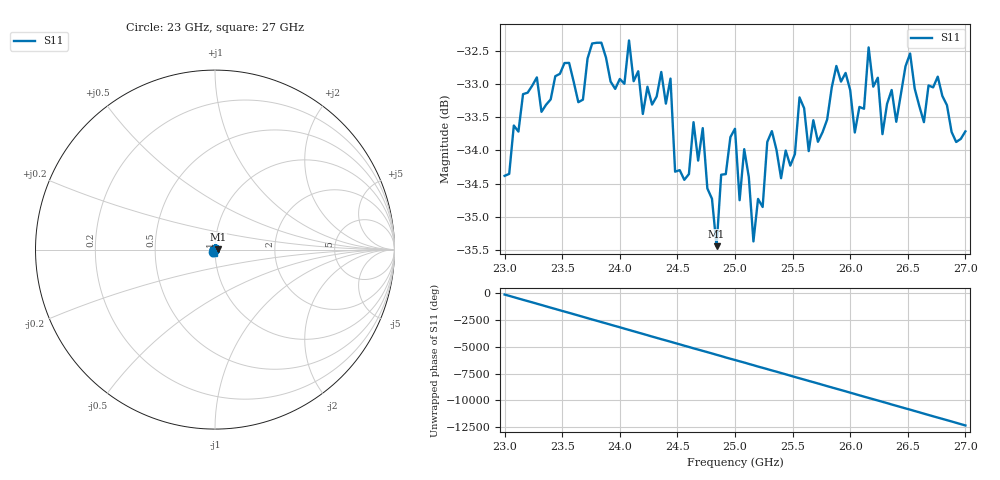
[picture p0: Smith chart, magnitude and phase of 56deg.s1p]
#  HZ  S  RI  R  50.00
! Rohde & Schwarz ZVA40 4Ports - Version 3.90 - 1145.1110k42 SN: 100403
! Date: 2023-09-26 10:45:54
! Measurement: S12
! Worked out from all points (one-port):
!   101 points, 23 GHz to 27 GHz, reference 50 ohm
!   lowest |S11| = -35.4 dB at 24.84 GHz (marker M1), VSWR 1.03, Z = 51.7 + j0.278 ohm
!   |S11| at or under -10 dB: start of sweep to end of sweep
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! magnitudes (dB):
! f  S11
! 23 GHz  -34.4
! 23.16 GHz  -33.2
! 23.52 GHz  -32.7
! 24 GHz  -32.9
! 24.08 GHz  -32.3
! 24.44 GHz  -32.9
! 24.48 GHz  -34.3
! 24.52 GHz  -34.3
! 24.72 GHz  -33.7
! 24.84 GHz  -35.4
! 24.88 GHz  -34.4
! 25 GHz  -33.7
! 25.04 GHz  -34.8
! 25.08 GHz  -34.0
! 25.16 GHz  -35.4
! 25.32 GHz  -33.7
! 25.52 GHz  -34.1
! 25.56 GHz  -33.2
! 25.64 GHz  -34.0
! 25.88 GHz  -32.7
! 26 GHz  -33.1
! 26.04 GHz  -33.7
! 26.16 GHz  -32.4
! 26.28 GHz  -33.8
! 26.52 GHz  -32.5
! 26.64 GHz  -33.6
! 26.76 GHz  -32.9
! 27 GHz  -33.7
